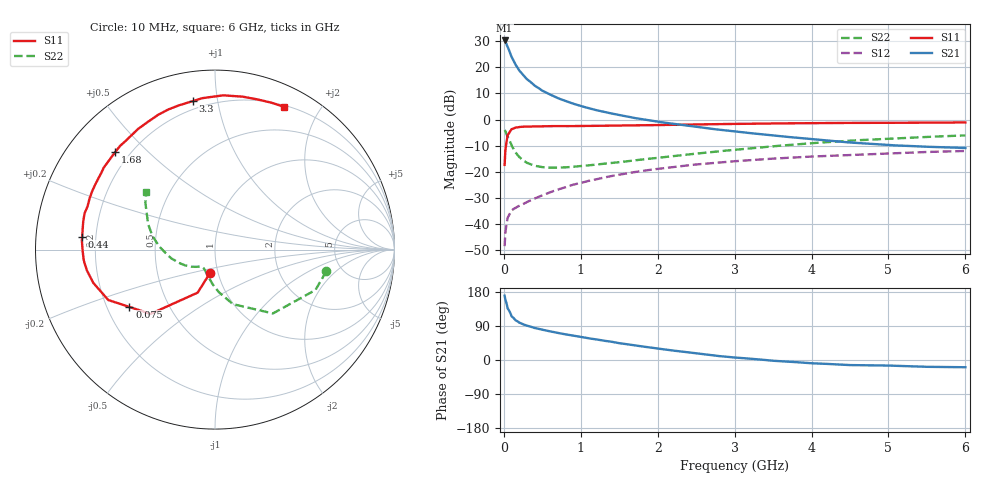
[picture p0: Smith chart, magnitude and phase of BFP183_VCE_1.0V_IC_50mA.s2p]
! Infineon Technologies  Discrete & RF Semiconductors
! BFP183
! VCE = 1.0 V,  IC =  50 mA
! Common Emitter S-Parameters:  Jan 2016
# GHz  S  MA  R  50
!  f  S11  S21  S12  S22
! GHz  MAG  ANG  MAG  ANG  MAG  ANG  MAG  ANG
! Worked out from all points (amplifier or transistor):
!   210 points, 10 MHz to 6 GHz, reference 50 ohm
!   highest |S21| = 30.3 dB at 10 MHz (marker M1)
!   |S21| within 3 dB of that: start of sweep to 57.99 MHz
!   unconditionally stable (mu >= 1): start of sweep to 38.49 MHz; 150 MHz to end of sweep
!   at 185 MHz: K = 1.12, MAG = 24.3 dB, |S12| = -33.2 dB
!   at 1.52 GHz: K = 1.90, MAG = 5.8 dB, |S12| = -20.9 dB
!   at 6 GHz: K = 1.53, MAG = -3.7 dB, |S12| = -12.0 dB
!   S11 on the Smith chart (normalised r, x): 10 MHz: 0.91, -0.25; 75 MHz: 0.29, -0.28; 440 MHz: 0.15, +0.05; 1.68 GHz: 0.15, +0.40; 3.3 GHz: 0.15, +0.85; 6 GHz: 0.22, +1.57
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0.01  0.1361 -102.5  32.69 169.6  0.0038 64.0  0.6319 -11.0
0.02  0.2584 -111.9  31.52 159.5  0.0069 64.8  0.6033 -21.9
0.05  0.5075 -135.1  24.7 135.9  0.0133 53.1  0.4802 -47.8
0.075  0.5742 -146.2  19.99 127.9  0.0157 46.4  0.3917 -57.4
0.1  0.6576 -154.7  15.89 115.5  0.0183 41.5  0.3199 -71.8
0.15  0.703 -164.7  11.36 105.1  0.0206 40.7  0.2378 -84.9
0.2  0.7231 -170.8  8.736 98.7  0.0225 42.4  0.193 -94.0
0.26  0.7341 -175.8  6.855 93.4  0.0247 44.8  0.1632 -101.4
0.3  0.7367 -178.6  5.946 90.4  0.0265 46.8  0.1492 -105.7
0.4  0.7434 176.2  4.483 84.5  0.0309 51.0  0.1314 -113.6
0.44  0.7438 174.4  4.119 82.9  0.0328 52.1  0.1281 -115.7
0.5  0.7459 171.6  3.582 79.8  0.0356 53.5  0.1235 -119.0
0.7  0.7542 164.4  2.579 71.5  0.0459 57.8  0.1203 -125.6
1.02  0.758 154.4  1.788 60.1  0.0627 58.7  0.1298 -133.1
1.3  0.7633 146.4  1.406 50.9  0.0779 57.6  0.1432 -137.9
1.68  0.7774 135.7  1.09 39.2  0.0982 54.6  0.165 -145.0
2.02  0.788 126.7  0.905 29.7  0.1155 51.1  0.1873 -151.8
3.1  0.83 102.4  0.573 5.1  0.1639 38.4  0.273 -175.4
3.3  0.8364 98.5  0.534 1.8  0.1716 36.0  0.2909 -179.4
4.1  0.8606 85.6  0.412 -9.4  0.1993 26.8  0.3629 166.1
5.1  0.8705 73.2  0.321 -15.3  0.2278 17.1  0.4386 150.6
6  0.8834 64.2  0.287 -19.1  0.2517 7.3  0.4995 140.0
